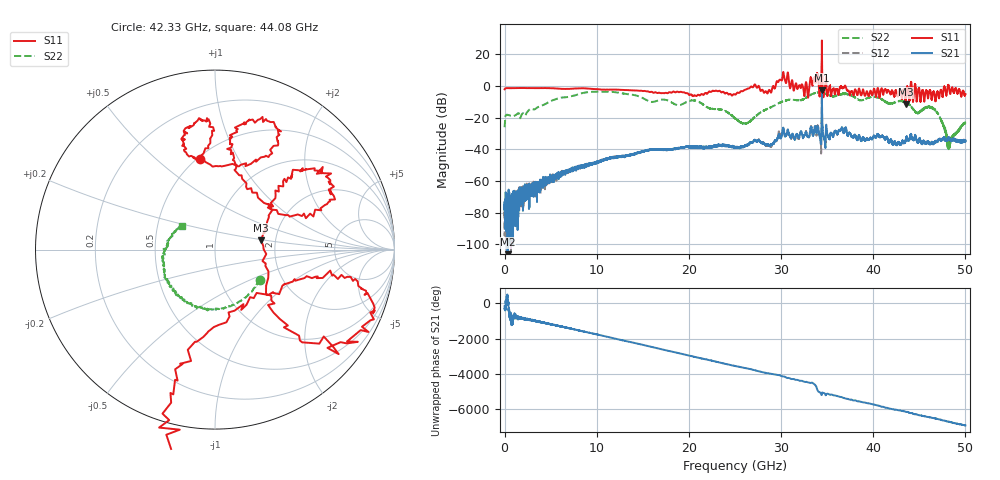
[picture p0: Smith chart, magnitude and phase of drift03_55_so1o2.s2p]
!Created with skrf (http://scikit-rf.org).
# Hz S RI R 50.0
!freq ReS11 ImS11 ReS21 ImS21 ReS12 ImS12 ReS22 ImS22
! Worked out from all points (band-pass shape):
!   10000 points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, 5.3 MHz to 50 GHz, reference 50 ohm
!   highest |S21| = -2.70 dB at 34.43 GHz (marker M1); lowest = -107.7 dB at 325.3 MHz (marker M2)
!   |S21| within 3 dB of the highest: 34.4276 GHz to 34.4344 GHz (6.806 MHz wide, 0.0198 % of centre)
!   lowest |S11| = -11.6 dB at 43.51 GHz (marker M3), VSWR 1.71, Z = 83.9 + j9.19 ohm
!   |S11| at or under -10 dB: 43.49044 GHz to 43.54403 GHz (53.59 MHz wide, 0.123 % of centre); 44.31456 GHz to 44.31548 GHz (924.7 kHz wide, 0.00209 % of centre)
!   |S22| runs from -40.0 to -3.6 dB; largest |S21 - S12| = 0.23
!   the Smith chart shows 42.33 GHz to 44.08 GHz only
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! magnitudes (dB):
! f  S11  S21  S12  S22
! 5.3 MHz  -2.1  -77.8  -73.3  -26.1
! 325.3 MHz  -1.4  -107.7  -74.2  -18.2
! 2.93 GHz  -1.4  -66.4  -64.9  -14.4
! 8.34 GHz  -1.5  -50.8  -51.0  -4.7
! 16.67 GHz  -4.4  -40.4  -40.5  -9.2
! 20.74 GHz  -6.3  -38.8  -38.7  -9.3
! 25.01 GHz  -5.5  -38.5  -39.1  -20.3
! 26.22 GHz  -2.3  -37.3  -37.3  -23.7
! 27.38 GHz  -1.1  -34.8  -35.0  -18.5
! 28.72 GHz  -2.5  -37.4  -37.5  -14.0
! 30.14 GHz  4.4  -29.6  -29.7  -9.9
! 32.74 GHz  2.0  -29.6  -29.3  -7.4
! 33.34 GHz  2.6  -27.5  -27.8  -5.3
! 33.82 GHz  4.0  -29.1  -29.5  -4.3
! 34.43 GHz  28.7  -2.7  -4.6  -4.0
! 36.48 GHz  -0.5  -28.0  -28.0  -5.3
! 41.67 GHz  -2.9  -35.5  -35.5  -11.0
! 43.51 GHz  -11.6  -34.7  -34.7  -10.3
! 44.77 GHz  -7.9  -35.1  -34.9  -17.3
! 46.67 GHz  -5.4  -35.5  -35.3  -15.1
! 48.22 GHz  -0.6  -33.6  -33.1  -36.1
! 50 GHz  -5.2  -34.5  -34.9  -23.2
